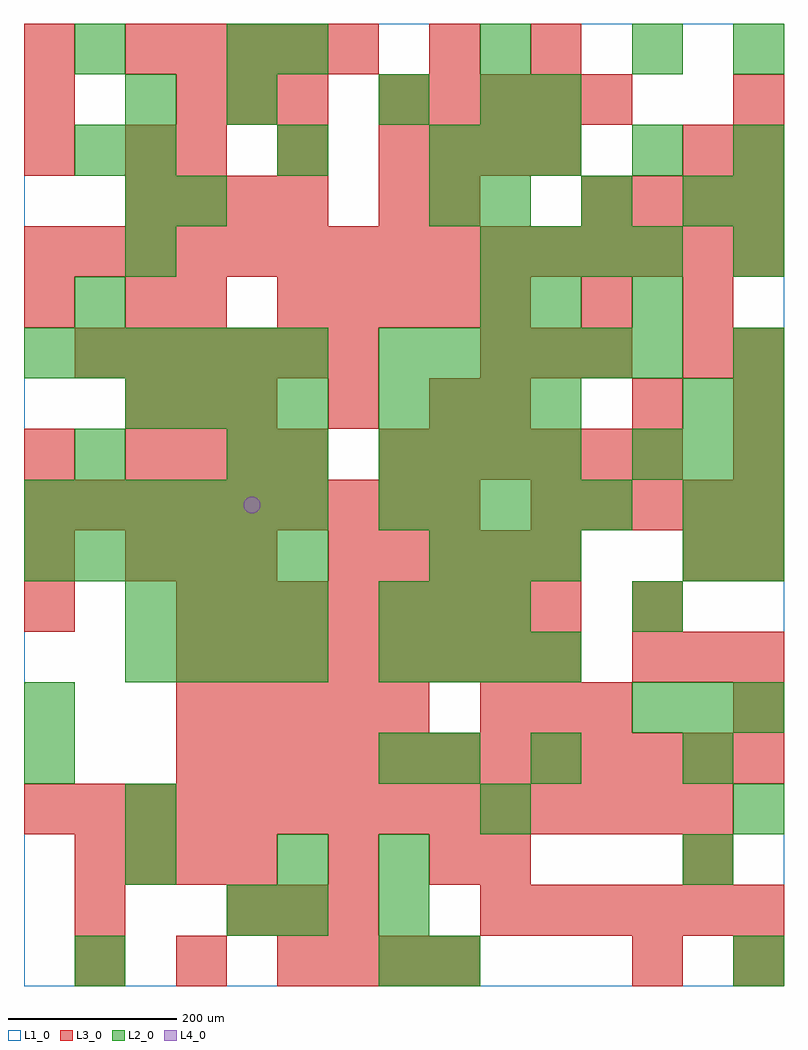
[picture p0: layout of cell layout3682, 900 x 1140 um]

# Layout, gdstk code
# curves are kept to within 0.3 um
import gdstk
lib = gdstk.Library(unit=1e-6, precision=1e-09)
def R(c, l, rs):  # rectangles x0, y0, x1, y1
    for r in rs: c.add(gdstk.rectangle(r[:2], r[2:], *l))
def A(c, l, x, y, w, h, nx, ny, dx, dy):  # array of equal rectangles
    R(c, l, [(x+i*dx, y+j*dy, x+i*dx+w, y+j*dy+h) for i in range(nx) for j in range(ny)])
def P(c, l, *ps):  # polygons
    for p in ps: c.add(gdstk.Polygon(p, *l))
L1_0 = (1, 0)
L2_0 = (2, 0)
L3_0 = (3, 0)
L4_0 = (4, 0)

layout3682 = lib.new_cell('layout3682')
R(layout3682, L1_0, [(0,0,900,1140)])
A(layout3682, L2_0, 420, 0, 60, 60, 1, 3, 0, 60)
A(layout3682, L2_0, 300, 120, 60, 60, 1, 3, 0, 480)
A(layout3682, L2_0, 720, 300, 60, 60, 3, 2, 60, 300)
A(layout3682, L2_0, 120, 360, 60, 60, 4, 2, 60, 60)
A(layout3682, L2_0, 420, 360, 60, 60, 4, 2, 60, 240)
A(layout3682, L2_0, 420, 420, 60, 60, 3, 1, 60, 0)
A(layout3682, L2_0, 0, 480, 60, 60, 6, 2, 60, 60)
A(layout3682, L2_0, 480, 480, 60, 60, 3, 1, 60, 0)
A(layout3682, L2_0, 420, 540, 60, 60, 5, 1, 60, 0)
A(layout3682, L2_0, 60, 600, 60, 60, 1, 3, 0, 180)
A(layout3682, L2_0, 120, 660, 60, 60, 4, 1, 60, 0)
A(layout3682, L2_0, 420, 660, 60, 60, 4, 1, 60, 0)
A(layout3682, L2_0, 0, 720, 60, 60, 6, 1, 60, 0)
A(layout3682, L2_0, 420, 720, 60, 60, 6, 1, 60, 0)
A(layout3682, L2_0, 540, 840, 60, 60, 4, 1, 60, 0)
A(layout3682, L2_0, 540, 900, 60, 60, 3, 1, 120, 0)
A(layout3682, L2_0, 120, 960, 60, 60, 3, 1, 180, 0)
A(layout3682, L2_0, 540, 960, 60, 60, 1, 3, 0, 60)
A(layout3682, L2_0, 600, 960, 60, 60, 3, 1, 120, 0)
R(layout3682, L2_0, [(60,0,120,60), (480,0,540,60), (840,0,900,60), (240,60,300,120), (300,60,360,120), (120,120,180,180), (780,120,840,180), (120,180,180,240), (540,180,600,240), (840,180,900,240), (0,240,60,300), (420,240,480,300), (480,240,540,300), (600,240,660,300), (780,240,840,300), (0,300,60,360), (720,420,780,480), (780,480,840,540), (840,480,900,540), (780,540,840,600), (840,540,900,600), (240,600,300,660), (780,660,840,720), (840,660,900,720), (840,720,900,780), (540,780,600,840), (600,780,660,840), (720,780,780,840), (120,840,180,900), (840,840,900,900), (120,900,180,960), (180,900,240,960), (480,900,540,960), (840,900,900,960), (120,1020,180,1080), (240,1020,300,1080), (420,1020,480,1080), (600,1020,660,1080), (60,1080,120,1140), (240,1080,300,1140), (720,1080,780,1140), (840,1080,900,1140)])
A(layout3682, L3_0, 60, 0, 60, 60, 3, 1, 120, 0)
A(layout3682, L3_0, 360, 0, 60, 60, 3, 1, 60, 0)
A(layout3682, L3_0, 240, 60, 60, 60, 3, 1, 60, 0)
A(layout3682, L3_0, 540, 60, 60, 60, 6, 1, 60, 0)
A(layout3682, L3_0, 60, 120, 60, 60, 4, 1, 60, 0)
A(layout3682, L3_0, 0, 180, 60, 60, 14, 1, 60, 0)
A(layout3682, L3_0, 180, 240, 60, 60, 12, 1, 60, 0)
A(layout3682, L3_0, 180, 300, 60, 60, 5, 1, 60, 0)
A(layout3682, L3_0, 540, 300, 60, 60, 3, 2, 60, 420)
A(layout3682, L3_0, 180, 360, 60, 60, 8, 2, 60, 60)
A(layout3682, L3_0, 720, 360, 60, 60, 3, 1, 60, 0)
A(layout3682, L3_0, 120, 480, 60, 60, 3, 2, 60, 180)
A(layout3682, L3_0, 360, 480, 60, 60, 5, 1, 60, 0)
A(layout3682, L3_0, 0, 540, 60, 60, 9, 1, 60, 0)
A(layout3682, L3_0, 600, 540, 60, 60, 5, 1, 60, 0)
A(layout3682, L3_0, 0, 600, 60, 60, 1, 3, 0, 180)
A(layout3682, L3_0, 120, 600, 60, 60, 4, 2, 60, 300)
A(layout3682, L3_0, 420, 600, 60, 60, 6, 1, 60, 0)
A(layout3682, L3_0, 840, 600, 60, 60, 1, 3, 0, 60)
A(layout3682, L3_0, 60, 720, 60, 60, 6, 1, 60, 0)
A(layout3682, L3_0, 300, 780, 60, 60, 5, 1, 60, 0)
A(layout3682, L3_0, 0, 840, 60, 60, 15, 1, 60, 0)
A(layout3682, L3_0, 660, 900, 60, 60, 4, 1, 60, 0)
A(layout3682, L3_0, 180, 960, 60, 60, 3, 1, 120, 0)
A(layout3682, L3_0, 480, 960, 60, 60, 3, 1, 60, 0)
A(layout3682, L3_0, 180, 1020, 60, 60, 3, 1, 60, 0)
A(layout3682, L3_0, 420, 1020, 60, 60, 5, 1, 60, 0)
A(layout3682, L3_0, 120, 1080, 60, 60, 5, 1, 60, 0)
R(layout3682, L3_0, [(720,0,780,60), (840,0,900,60), (60,60,120,120), (360,120,420,180), (480,120,540,180), (540,120,600,180), (780,120,840,180), (840,300,900,360), (0,420,60,480), (720,420,780,480), (0,480,60,540), (780,480,840,540), (840,480,900,540), (360,660,420,720), (480,660,540,720), (540,660,600,720), (720,660,780,720), (780,720,840,780), (120,780,180,840), (180,780,240,840), (660,780,720,840), (780,780,840,840), (420,900,480,960), (480,900,540,960), (120,960,180,1020), (780,960,840,1020), (840,960,900,1020), (0,1020,60,1080), (840,1020,900,1080), (0,1080,60,1140), (480,1080,540,1140), (600,1080,660,1140)])
P(layout3682, L4_0, [(280,570),(279.239,573.827),(277.071,577.071),(273.827,579.239),(270,580),(266.173,579.239),(262.929,577.071),(260.761,573.827),(260,570),(260.761,566.173),(262.929,562.929),(266.173,560.761),(270,560),(273.827,560.761),(277.071,562.929),(279.239,566.173)])

lib.write_gds('layout3682.gds')
